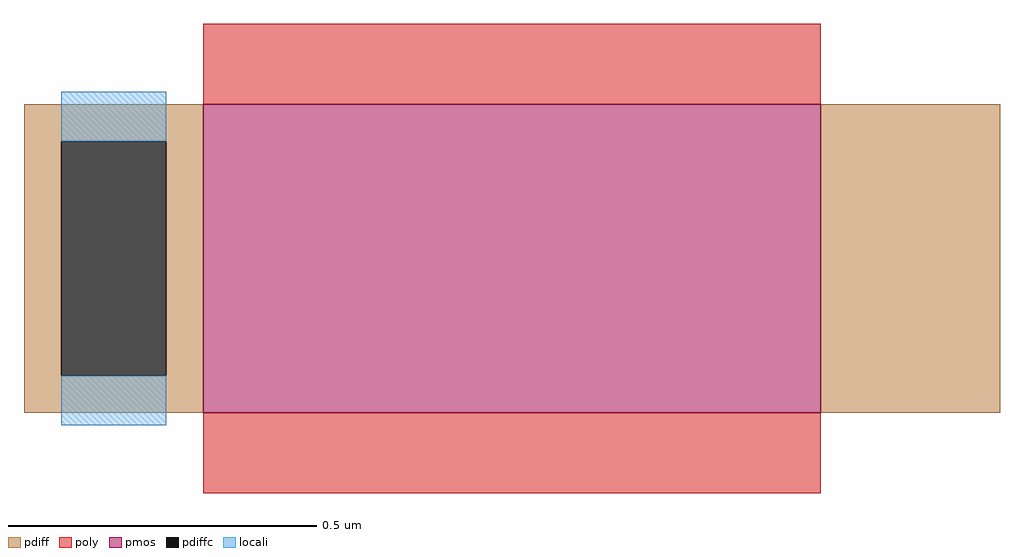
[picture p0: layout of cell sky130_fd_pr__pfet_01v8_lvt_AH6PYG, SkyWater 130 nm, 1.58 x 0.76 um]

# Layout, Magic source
magic
tech sky130A
<< pmos >>
rect -50 -25 50 25
<< pdiff >>
rect -79 19 -50 25
rect -79 -19 -73 19
rect -56 -19 -50 19
rect -79 -25 -50 -19
rect 50 -25 79 25
<< pdiffc >>
rect -73 -19 -56 19
<< poly >>
rect -50 25 50 38
rect -50 -38 50 -25
<< locali >>
rect -73 19 -56 27
rect -73 -27 -56 -19
<< properties >>
string gencell sky130_fd_pr__pfet_01v8_lvt
string library sky130
string parameters w 0.5 l 1.0 m 1 nf 1 diffcov 100 polycov 74 guard 0 glc 1 grc 1 gtc 1 gbc 1 tbcov 100 rlcov 100 topc 0 botc 0 poverlap 0 doverlap 1 lmin 0.35 wmin 0.42 class mosfet compatible {sky130_fd_pr__pfet_01v8  sky130_fd_pr__pfet_01v8_lvt sky130_fd_pr__pfet_01v8_hvt  sky130_fd_pr__pfet_g5v0d10v5} full_metal 1 viasrc 0 viadrn 0 viagate 0 viagb 0 viagr 0 viagl 0 viagt 0
<< end >>
